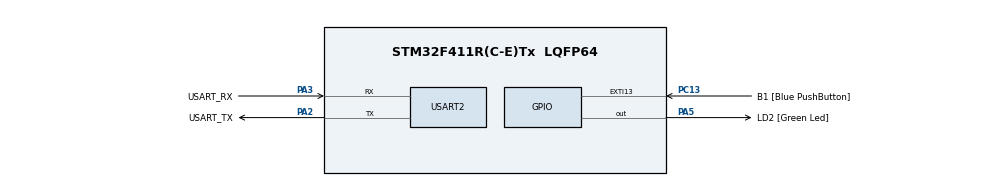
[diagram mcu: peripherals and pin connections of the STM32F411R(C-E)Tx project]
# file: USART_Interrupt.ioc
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Mcu.Family=STM32F4
Mcu.Name=STM32F411R(C-E)Tx
Mcu.Package=LQFP64
NVIC.PriorityGroup=NVIC_PRIORITYGROUP_0
NVIC.USART2_IRQn=true\:0\:0\:false\:false\:true\:true\:true\:true
PA13.GPIO_Label=TMS
PA13.Mode=Serial_Wire
PA13.Signal=SYS_JTMS-SWDIO
PA14.GPIO_Label=TCK
PA14.Mode=Serial_Wire
PA14.Signal=SYS_JTCK-SWCLK
PA2.GPIO_Label=USART_TX
PA2.Mode=Asynchronous
PA2.Signal=USART2_TX
PA3.GPIO_Label=USART_RX
PA3.Mode=Asynchronous
PA3.Signal=USART2_RX
PA5.GPIO_Label=LD2 [Green Led]
PA5.Signal=GPIO_Output
PB3.GPIO_Label=SWO
PB3.Signal=SYS_JTDO-SWO
PC13-ANTI_TAMP.GPIO_Label=B1 [Blue PushButton]
PC13-ANTI_TAMP.GPIO_ModeDefaultEXTI=GPIO_MODE_IT_FALLING
PC13-ANTI_TAMP.Signal=GPXTI13
PC14-OSC32_IN.Mode=LSE-External-Oscillator
PC14-OSC32_IN.Signal=RCC_OSC32_IN
PC15-OSC32_OUT.Mode=LSE-External-Oscillator
PC15-OSC32_OUT.Signal=RCC_OSC32_OUT
PH0\ -\ OSC_IN.Mode=HSE-External-Clock-Source
PH0\ -\ OSC_IN.Signal=RCC_OSC_IN
PH1\ -\ OSC_OUT.Mode=HSE-External-Clock-Source
PH1\ -\ OSC_OUT.Signal=RCC_OSC_OUT
ProjectManager.HeapSize=0x200
ProjectManager.StackSize=0x400
ProjectManager.TargetToolchain=STM32CubeIDE
RCC.48MHZClocksFreq_Value=84000000
RCC.AHBFreq_Value=84000000
RCC.APB1CLKDivider=RCC_HCLK_DIV2
RCC.APB1Freq_Value=42000000
RCC.APB1TimFreq_Value=84000000
RCC.APB2Freq_Value=84000000
RCC.APB2TimFreq_Value=84000000
RCC.CortexFreq_Value=84000000
RCC.FLatency-AdvancedSettings=FLASH_LATENCY_2
RCC.HCLKFreq_Value=84000000
RCC.HSE_VALUE=8000000
RCC.HSI_VALUE=16000000
RCC.PLLN=336
RCC.PLLP=RCC_PLLP_DIV4
RCC.SYSCLKFreq_VALUE=84000000
RCC.SYSCLKSource=RCC_SYSCLKSOURCE_PLLCLK
RCC.VCOOutputFreq_Value=336000000
USART2.VirtualMode=VM_ASYNC
board=NUCLEO-F411RE

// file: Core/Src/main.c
/* USER CODE BEGIN Header */
/**
 ******************************************************************************
 * @file           : main.c
 * @brief          : Main program body
 ******************************************************************************
 * @attention
 *
 * Copyright (c) 2025 STMicroelectronics.
 * All rights reserved.
 *
 * This software is licensed under terms that can be found in the LICENSE file
 * in the root directory of this software component.
 * If no LICENSE file comes with this software, it is provided AS-IS.
 *
 ******************************************************************************
 */
/* USER CODE END Header */
#include "main.h"

UART_HandleTypeDef huart2;

void SystemClock_Config(void);
static void MX_GPIO_Init(void);
static void MX_USART2_UART_Init(void);

/* USER CODE BEGIN 0 */
uint8_t TxData[10240];
int isSent = 1;
int countinterrupt=0;
int countloop = 0;
void HAL_UART_TxCpltCallback(UART_HandleTypeDef *huart) {
	isSent = 1;
	countinterrupt++;
}
/* USER CODE END 0 */

int main(void) {

	/* USER CODE BEGIN 1 */
	for (uint32_t i = 0; i < 10240; i++) {
		TxData[i] = i & (0xff);
	}
	/* USER CODE END 1 */

	/* MCU Configuration--------------------------------------------------------*/

	/* Reset of all peripherals, Initializes the Flash interface and the Systick. */
	HAL_Init();

	/* Configure the system clock */
	SystemClock_Config();

	/* Initialize all configured peripherals */
	MX_GPIO_Init();
	MX_USART2_UART_Init();

	/* Infinite loop */
	while (1) {

		/* USER CODE BEGIN 3 */
		if (isSent == 1) {
			HAL_UART_Transmit_IT(&huart2, TxData, 10240);
			isSent = 0;
		}
		HAL_GPIO_TogglePin(GPIOA, GPIO_PIN_5);
		HAL_Delay(500);
		countloop++;
	}
}
/* USER CODE END 3 */

void SystemClock_Config(void) {
RCC_OscInitTypeDef RCC_OscInitStruct = { 0 };
RCC_ClkInitTypeDef RCC_ClkInitStruct = { 0 };

/** Configure the main internal regulator output voltage
 */
__HAL_RCC_PWR_CLK_ENABLE();
__HAL_PWR_VOLTAGESCALING_CONFIG(PWR_REGULATOR_VOLTAGE_SCALE1);

/** Initializes the RCC Oscillators according to the specified parameters
 * in the RCC_OscInitTypeDef structure.
 */
RCC_OscInitStruct.OscillatorType = RCC_OSCILLATORTYPE_HSI;
RCC_OscInitStruct.HSIState = RCC_HSI_ON;
RCC_OscInitStruct.HSICalibrationValue = RCC_HSICALIBRATION_DEFAULT;
RCC_OscInitStruct.PLL.PLLState = RCC_PLL_ON;
RCC_OscInitStruct.PLL.PLLSource = RCC_PLLSOURCE_HSI;
RCC_OscInitStruct.PLL.PLLM = 16;
RCC_OscInitStruct.PLL.PLLN = 336;
RCC_OscInitStruct.PLL.PLLP = RCC_PLLP_DIV4;
RCC_OscInitStruct.PLL.PLLQ = 4;
if (HAL_RCC_OscConfig(&RCC_OscInitStruct) != HAL_OK) {
	Error_Handler();
}

/** Initializes the CPU, AHB and APB buses clocks
 */
RCC_ClkInitStruct.ClockType = RCC_CLOCKTYPE_HCLK | RCC_CLOCKTYPE_SYSCLK
		| RCC_CLOCKTYPE_PCLK1 | RCC_CLOCKTYPE_PCLK2;
RCC_ClkInitStruct.SYSCLKSource = RCC_SYSCLKSOURCE_PLLCLK;
RCC_ClkInitStruct.AHBCLKDivider = RCC_SYSCLK_DIV1;
RCC_ClkInitStruct.APB1CLKDivider = RCC_HCLK_DIV2;
RCC_ClkInitStruct.APB2CLKDivider = RCC_HCLK_DIV1;

if (HAL_RCC_ClockConfig(&RCC_ClkInitStruct, FLASH_LATENCY_2) != HAL_OK) {
	Error_Handler();
}
}

static void MX_USART2_UART_Init(void) {

huart2.Instance = USART2;
huart2.Init.BaudRate = 115200;
huart2.Init.WordLength = UART_WORDLENGTH_8B;
huart2.Init.StopBits = UART_STOPBITS_1;
huart2.Init.Parity = UART_PARITY_NONE;
huart2.Init.Mode = UART_MODE_TX_RX;
huart2.Init.HwFlowCtl = UART_HWCONTROL_NONE;
huart2.Init.OverSampling = UART_OVERSAMPLING_16;
if (HAL_UART_Init(&huart2) != HAL_OK) {
	Error_Handler();
}

}

static void MX_GPIO_Init(void) {
GPIO_InitTypeDef GPIO_InitStruct = { 0 };

/* GPIO Ports Clock Enable */
__HAL_RCC_GPIOC_CLK_ENABLE();
__HAL_RCC_GPIOH_CLK_ENABLE();
__HAL_RCC_GPIOA_CLK_ENABLE();
__HAL_RCC_GPIOB_CLK_ENABLE();

/*Configure GPIO pin Output Level */
HAL_GPIO_WritePin(LD2_GPIO_Port, LD2_Pin, GPIO_PIN_RESET);

/*Configure GPIO pin : B1_Pin */
GPIO_InitStruct.Pin = B1_Pin;
GPIO_InitStruct.Mode = GPIO_MODE_IT_FALLING;
GPIO_InitStruct.Pull = GPIO_NOPULL;
HAL_GPIO_Init(B1_GPIO_Port, &GPIO_InitStruct);

/*Configure GPIO pin : LD2_Pin */
GPIO_InitStruct.Pin = LD2_Pin;
GPIO_InitStruct.Mode = GPIO_MODE_OUTPUT_PP;
GPIO_InitStruct.Pull = GPIO_NOPULL;
GPIO_InitStruct.Speed = GPIO_SPEED_FREQ_LOW;
HAL_GPIO_Init(LD2_GPIO_Port, &GPIO_InitStruct);

}

void Error_Handler(void) {
__disable_irq();
while (1) {
}
}
